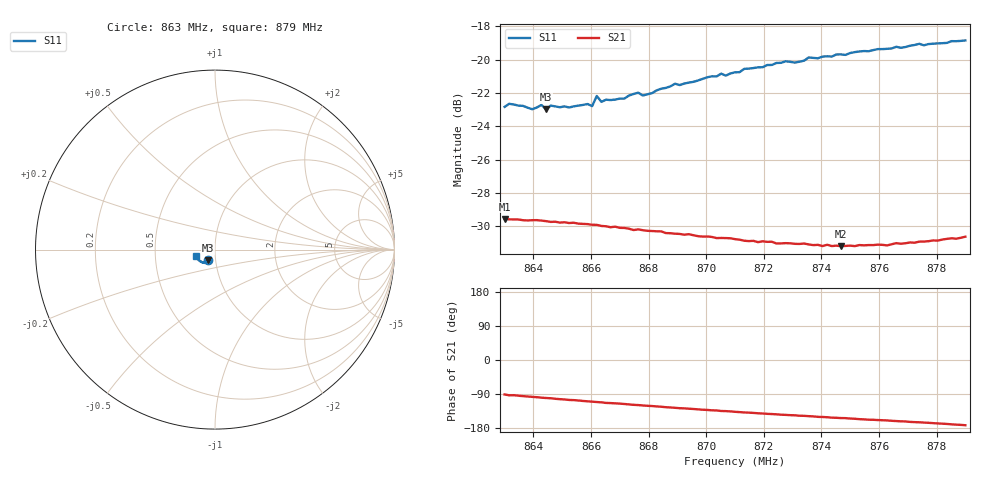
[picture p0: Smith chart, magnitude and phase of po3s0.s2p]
# HZ S RI R 50
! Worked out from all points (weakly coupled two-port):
!   101 points, 863 MHz to 879 MHz, reference 50 ohm
!   highest |S21| = -29.56 dB at 863 MHz (marker M1); lowest = -31.2 dB at 874.68 MHz (marker M2)
!   lowest |S11| = -23.0 dB at 864.44 MHz (marker M3), VSWR 1.15, Z = 46.1 - j5.6 ohm
!   |S11| at or under -10 dB: start of sweep to end of sweep
!   S12 and S22 are empty: the file has one direction only
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8.63e8  -0.0392 -0.0606  -0.00055 -0.0332  0 0  0 0
8.6316e8  -0.0417 -0.0608  -0.00185 -0.0331  0 0  0 0
8.6396e8  -0.0384 -0.0597  -0.00419 -0.0327  0 0  0 0
8.6428e8  -0.0386 -0.0622  -0.00539 -0.0324  0 0  0 0
8.6444e8  -0.037 -0.0605  -0.00585 -0.0322  0 0  0 0
8.646e8  -0.039 -0.0615  -0.0062 -0.032  0 0  0 0
8.6524e8  -0.0364 -0.0619  -0.0086 -0.0312  0 0  0 0
8.6572e8  -0.0368 -0.0632  -0.00997 -0.0306  0 0  0 0
8.6604e8  -0.0353 -0.0634  -0.0109 -0.03  0 0  0 0
8.662e8  -0.0426 -0.0651  -0.0114 -0.0298  0 0  0 0
8.6636e8  -0.0378 -0.0645  -0.0117 -0.0294  0 0  0 0
8.6716e8  -0.0371 -0.0668  -0.0137 -0.0281  0 0  0 0
8.6764e8  -0.0393 -0.0692  -0.015 -0.0271  0 0  0 0
8.678e8  -0.0395 -0.0674  -0.0154 -0.0267  0 0  0 0
8.6844e8  -0.0419 -0.0703  -0.0168 -0.0255  0 0  0 0
8.6892e8  -0.0438 -0.0725  -0.0177 -0.0242  0 0  0 0
8.6908e8  -0.0451 -0.0708  -0.0181 -0.0239  0 0  0 0
8.71e8  -0.0544 -0.0738  -0.0211 -0.0198  0 0  0 0
8.7372e8  -0.0731 -0.0701  -0.0237 -0.0144  0 0  0 0
8.7468e8  -0.0808 -0.0651  -0.0246 -0.0124  0 0  0 0
8.7644e8  -0.0927 -0.0556  -0.0263 -0.00934  0 0  0 0
8.79e8  -0.1085 -0.0358  -0.0291 -0.00401  0 0  0 0
